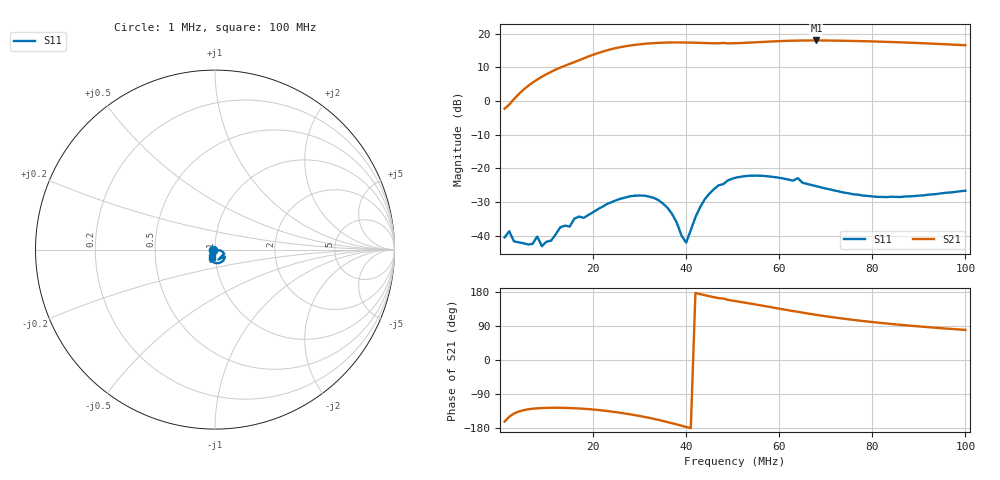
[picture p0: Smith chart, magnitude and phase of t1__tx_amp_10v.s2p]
# HZ S RI R 50
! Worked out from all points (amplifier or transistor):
!   100 points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, 1 MHz to 100 MHz, reference 50 ohm
!   highest |S21| = 18.0 dB at 68 MHz (marker M1)
!   |S21| within 3 dB of that: 22.82 MHz to end of sweep
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1000001  -0.00948 -0.000117  -0.735 -0.2316  0 0  0 0
1.1e7  -0.0042 -0.00739  -1.6 -2.196  0 0  0 0
1.3e7  -0.000515 -0.0134  -1.85 -2.532  0 0  0 0
1.8e7  -0.00183 -0.0184  -2.691 -3.357  0 0  0 0
2.2e7  -0.00138 -0.027  -3.695 -3.939  0 0  0 0
2.6e7  -0.00387 -0.0355  -4.813 -4.104  0 0  0 0
3e7  -0.0102 -0.0383  -5.87 -3.709  0 0  0 0
3.4e7  -0.015 -0.0306  -6.761 -2.746  0 0  0 0
3.7e7  -0.0106 -0.0181  -7.211 -1.673  0 0  0 0
4e7  0.00408 -0.00678  -7.37 -0.4356  0 0  0 0
4.5e7  0.0408 -0.011  -7.078 1.468  0 0  0 0
4.7e7  0.0512 -0.0231  -6.88 2.07  0 0  0 0
4.8e7  0.0189 -0.0556  -6.923 2.221  0 0  0 0
5.1e7  0.0511 -0.0533  -6.532 3.104  0 0  0 0
5.9e7  0.00159 -0.0744  -5.691 5.175  0 0  0 0
6.3e7  -0.0166 -0.0638  -4.96 6.104  0 0  0 0
6.7e7  -0.0249 -0.0508  -4.08 6.79  0 0  0 0
6.8e7  -0.0262 -0.0478  -3.855 6.925  0 0  0 0
7.5e7  -0.0249 -0.0346  -2.319 7.466  0 0  0 0
8.4e7  -0.0194 -0.0328  -0.6817 7.487  0 0  0 0
9.2e7  -0.0163 -0.0374  0.4205 7.139  0 0  0 0
1e8  -0.016 -0.0439  1.242 6.613  0 0  0 0
